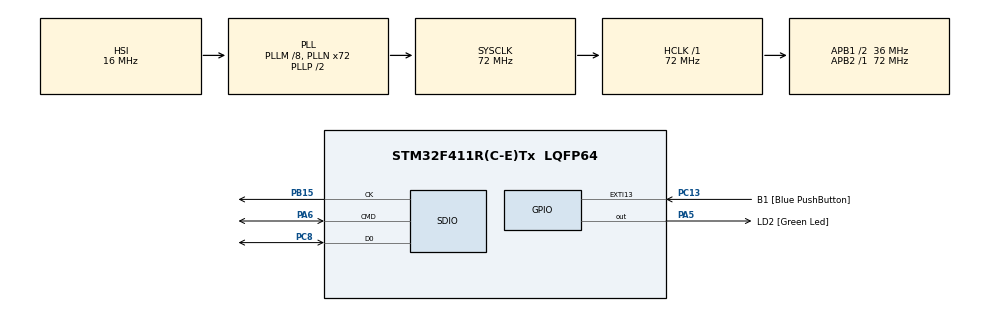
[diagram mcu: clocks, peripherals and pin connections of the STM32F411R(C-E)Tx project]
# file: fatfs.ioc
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Mcu.Family=STM32F4
Mcu.Name=STM32F411R(C-E)Tx
Mcu.Package=LQFP64
NVIC.PriorityGroup=NVIC_PRIORITYGROUP_0
NVIC.SDIO_IRQn=true\:0\:0\:false\:false\:true
PA13.GPIO_Label=TMS
PA13.Signal=SYS_JTMS-SWDIO
PA14.GPIO_Label=TCK
PA14.Signal=SYS_JTCK-SWCLK
PA2.GPIO_Label=USART_TX
PA2.Signal=USART2_TX
PA3.GPIO_Label=USART_RX
PA3.Signal=USART2_RX
PA5.GPIO_Label=LD2 [Green Led]
PA5.Signal=GPIO_Output
PA6.Mode=SD_1_bit
PA6.Signal=SDIO_CMD
PB15.Mode=SD_1_bit
PB15.Signal=SDIO_CK
PB3.GPIO_Label=SWO
PB3.Signal=SYS_JTDO-SWO
PC13-ANTI_TAMP.GPIO_Label=B1 [Blue PushButton]
PC13-ANTI_TAMP.GPIO_ModeDefaultEXTI=GPIO_MODE_IT_FALLING
PC13-ANTI_TAMP.Signal=GPXTI13
PC14-OSC32_IN.Signal=RCC_OSC32_IN
PC15-OSC32_OUT.Signal=RCC_OSC32_OUT
PC8.Mode=SD_1_bit
PC8.Signal=SDIO_D0
PH0\ -\ OSC_IN.Signal=RCC_OSC_IN
PH1\ -\ OSC_OUT.Signal=RCC_OSC_OUT
ProjectManager.HeapSize=0x2000
ProjectManager.StackSize=0x4000
ProjectManager.TargetToolchain=MDK-ARM V5
RCC.48MHZClocksFreq_Value=48000000
RCC.AHBFreq_Value=72000000
RCC.APB1CLKDivider=RCC_HCLK_DIV2
RCC.APB1Freq_Value=36000000
RCC.APB1TimFreq_Value=72000000
RCC.APB2Freq_Value=72000000
RCC.APB2TimFreq_Value=72000000
RCC.CortexFreq_Value=72000000
RCC.FLatency-AdvancedSettings=FLASH_LATENCY_2
RCC.HCLKFreq_Value=72000000
RCC.HSE_VALUE=8000000
RCC.HSI_VALUE=16000000
RCC.LSE_VALUE=32768
RCC.PLLM=8
RCC.PLLN=72
RCC.PLLQ=3
RCC.SYSCLKFreq_VALUE=72000000
RCC.SYSCLKSource=RCC_SYSCLKSOURCE_PLLCLK
RCC.VCOOutputFreq_Value=144000000
SDIO.ClockDiv=3
VP_FATFS_VS_SDIO.Mode=SDIO
board=NUCLEO-F411RE

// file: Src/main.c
/**

  ******************************************************************************

  * File Name          : main.c

  * Description        : Main program body

  ******************************************************************************

  * This notice applies to any and all portions of this file

  * that are not between comment pairs USER CODE BEGIN and

  * USER CODE END. Other portions of this file, whether

  * inserted by the user or by software development tools

  * are owned by their respective copyright owners.

  *

  * Copyright (c) 2018 STMicroelectronics International N.V.

  * All rights reserved.

  *

  * Redistribution and use in source and binary forms, with or without

  * modification, are permitted, provided that the following conditions are met:

  *

  * 1. Redistribution of source code must retain the above copyright notice,

  *    this list of conditions and the following disclaimer.

  * 2. Redistributions in binary form must reproduce the above copyright notice,

  *    this list of conditions and the following disclaimer in the documentation

  *    and/or other materials provided with the distribution.

  * 3. Neither the name of STMicroelectronics nor the names of other

  *    contributors to this software may be used to endorse or promote products

  *    derived from this software without specific written permission.

  * 4. This software, including modifications and/or derivative works of this

  *    software, must execute solely and exclusively on microcontroller or

  *    microprocessor devices manufactured by or for STMicroelectronics.

  * 5. Redistribution and use of this software other than as permitted under

  *    this license is void and will automatically terminate your rights under

  *    this license.

  *

  * THIS SOFTWARE IS PROVIDED BY STMICROELECTRONICS AND CONTRIBUTORS "AS IS"

  * AND ANY EXPRESS, IMPLIED OR STATUTORY WARRANTIES, INCLUDING, BUT NOT

  * LIMITED TO, THE IMPLIED WARRANTIES OF MERCHANTABILITY, FITNESS FOR A

  * PARTICULAR PURPOSE AND NON-INFRINGEMENT OF THIRD PARTY INTELLECTUAL PROPERTY

  * RIGHTS ARE DISCLAIMED TO THE FULLEST EXTENT PERMITTED BY LAW. IN NO EVENT

  * SHALL STMICROELECTRONICS OR CONTRIBUTORS BE LIABLE FOR ANY DIRECT, INDIRECT,

  * INCIDENTAL, SPECIAL, EXEMPLARY, OR CONSEQUENTIAL DAMAGES (INCLUDING, BUT NOT

  * LIMITED TO, PROCUREMENT OF SUBSTITUTE GOODS OR SERVICES; LOSS OF USE, DATA,

  * OR PROFITS; OR BUSINESS INTERRUPTION) HOWEVER CAUSED AND ON ANY THEORY OF

  * LIABILITY, WHETHER IN CONTRACT, STRICT LIABILITY, OR TORT (INCLUDING

  * NEGLIGENCE OR OTHERWISE) ARISING IN ANY WAY OUT OF THE USE OF THIS SOFTWARE,

  * EVEN IF ADVISED OF THE POSSIBILITY OF SUCH DAMAGE.

  *

  ******************************************************************************

  */

#include "main.h"

#include "stm32f4xx_hal.h"

#include "fatfs.h"

SD_HandleTypeDef hsd;

/* USER CODE BEGIN PV */

/* Private variables ---------------------------------------------------------*/

FATFS SDFatFs;  /* Sistema de Archivos de la SD */

FIL MyFile;     /* Manejador de Archivo (Estructura) */

char SDPath[4]; /* Path Lógico de la SD */

/* USER CODE END PV */

void SystemClock_Config(void);

static void MX_GPIO_Init(void);

static void MX_SDIO_SD_Init(void);

/* USER CODE BEGIN PFP */

/* Private function prototypes -----------------------------------------------*/

/* USER CODE END PFP */

int main(void)

{

  /* MCU Configuration----------------------------------------------------------*/

  /* Reset of all peripherals, Initializes the Flash interface and the Systick. */

  HAL_Init();

  /* Configure the system clock */

  SystemClock_Config();

  /* Initialize all configured peripherals */

  MX_GPIO_Init();

  MX_SDIO_SD_Init();

  MX_FATFS_Init();

  /* USER CODE BEGIN 2 */

  if(f_mount(&SDFatFs, SDPath, 1) == FR_OK) {

    HAL_GPIO_TogglePin(GPIOA, GPIO_PIN_5);

    HAL_Delay(200);

    HAL_GPIO_TogglePin(GPIOA, GPIO_PIN_5);

    HAL_Delay(200);

                        char myPath[] = "Text1.txt";

    if(f_open(&MyFile, (const TCHAR *)myPath, FA_WRITE | FA_CREATE_ALWAYS) == FR_OK) {

      char data[] = "My data to write";

      UINT testbytes;

      if(f_write(&MyFile, data, sizeof(data), &testbytes) == FR_OK) {

      }

      f_close(&MyFile);

      HAL_GPIO_TogglePin(GPIOA, GPIO_PIN_5);

      HAL_Delay(200);

      HAL_GPIO_TogglePin(GPIOA, GPIO_PIN_5);

      HAL_Delay(200);

                                    char dataread[sizeof(data)];

      if(f_open(&MyFile, (const TCHAR *)myPath, FA_READ | FA_OPEN_ALWAYS) == FR_OK) {

          if(f_read(&MyFile, dataread, sizeof(dataread), &testbytes) == FR_OK) {

            HAL_GPIO_TogglePin(GPIOA, GPIO_PIN_5);

            HAL_Delay(200);

            HAL_GPIO_TogglePin(GPIOA, GPIO_PIN_5);

            HAL_Delay(200);

        }

      }

      f_close(&MyFile);

    }

  }

  /* USER CODE END 2 */

  /* Infinite loop */

  while (1)
  {

  }

}

/** System Clock Configuration

*/

void SystemClock_Config(void)

{

  RCC_OscInitTypeDef RCC_OscInitStruct;

  RCC_ClkInitTypeDef RCC_ClkInitStruct;

    /**Configure the main internal regulator output voltage

    */

  __HAL_RCC_PWR_CLK_ENABLE();

  __HAL_PWR_VOLTAGESCALING_CONFIG(PWR_REGULATOR_VOLTAGE_SCALE1);

    /**Initializes the CPU, AHB and APB busses clocks

    */

  RCC_OscInitStruct.OscillatorType = RCC_OSCILLATORTYPE_HSI;

  RCC_OscInitStruct.HSIState = RCC_HSI_ON;

  RCC_OscInitStruct.HSICalibrationValue = 16;

  RCC_OscInitStruct.PLL.PLLState = RCC_PLL_ON;

  RCC_OscInitStruct.PLL.PLLSource = RCC_PLLSOURCE_HSI;

  RCC_OscInitStruct.PLL.PLLM = 8;

  RCC_OscInitStruct.PLL.PLLN = 72;

  RCC_OscInitStruct.PLL.PLLP = RCC_PLLP_DIV2;

  RCC_OscInitStruct.PLL.PLLQ = 3;

  if (HAL_RCC_OscConfig(&RCC_OscInitStruct) != HAL_OK)

  {

    _Error_Handler(__FILE__, __LINE__);

  }

    /**Initializes the CPU, AHB and APB busses clocks

    */

  RCC_ClkInitStruct.ClockType = RCC_CLOCKTYPE_HCLK|RCC_CLOCKTYPE_SYSCLK

                              |RCC_CLOCKTYPE_PCLK1|RCC_CLOCKTYPE_PCLK2;

  RCC_ClkInitStruct.SYSCLKSource = RCC_SYSCLKSOURCE_PLLCLK;

  RCC_ClkInitStruct.AHBCLKDivider = RCC_SYSCLK_DIV1;

  RCC_ClkInitStruct.APB1CLKDivider = RCC_HCLK_DIV2;

  RCC_ClkInitStruct.APB2CLKDivider = RCC_HCLK_DIV1;

  if (HAL_RCC_ClockConfig(&RCC_ClkInitStruct, FLASH_LATENCY_2) != HAL_OK)

  {

    _Error_Handler(__FILE__, __LINE__);

  }

    /**Configure the Systick interrupt time

    */

  HAL_SYSTICK_Config(HAL_RCC_GetHCLKFreq()/1000);

    /**Configure the Systick

    */

  HAL_SYSTICK_CLKSourceConfig(SYSTICK_CLKSOURCE_HCLK);

  /* SysTick_IRQn interrupt configuration */

  HAL_NVIC_SetPriority(SysTick_IRQn, 0, 0);

}

/* SDIO init function */

static void MX_SDIO_SD_Init(void)

{

  hsd.Instance = SDIO;

  hsd.Init.ClockEdge = SDIO_CLOCK_EDGE_RISING;

  hsd.Init.ClockBypass = SDIO_CLOCK_BYPASS_DISABLE;

  hsd.Init.ClockPowerSave = SDIO_CLOCK_POWER_SAVE_DISABLE;

  hsd.Init.BusWide = SDIO_BUS_WIDE_1B;

  hsd.Init.HardwareFlowControl = SDIO_HARDWARE_FLOW_CONTROL_DISABLE;

  hsd.Init.ClockDiv = 3;

}

/** Configure pins as

        * Analog

        * Input

        * Output

        * EVENT_OUT

        * EXTI

     PA2   ------> USART2_TX

     PA3   ------> USART2_RX

*/

static void MX_GPIO_Init(void)

{

  GPIO_InitTypeDef GPIO_InitStruct;

  /* GPIO Ports Clock Enable */

  __HAL_RCC_GPIOC_CLK_ENABLE();

  __HAL_RCC_GPIOH_CLK_ENABLE();

  __HAL_RCC_GPIOA_CLK_ENABLE();

  __HAL_RCC_GPIOB_CLK_ENABLE();

  /*Configure GPIO pin Output Level */

  HAL_GPIO_WritePin(GPIOA, GPIO_PIN_5, GPIO_PIN_RESET);

  /*Configure GPIO pin : B1_Pin */

  GPIO_InitStruct.Pin = GPIO_PIN_13;

  GPIO_InitStruct.Mode = GPIO_MODE_IT_FALLING;

  GPIO_InitStruct.Pull = GPIO_NOPULL;

  HAL_GPIO_Init(GPIOC, &GPIO_InitStruct);

  /*Configure GPIO pins : USART_TX_Pin USART_RX_Pin */

// GPIO_InitStruct.Pin = USART_TX_Pin|USART_RX_Pin;

  GPIO_InitStruct.Mode = GPIO_MODE_AF_PP;

  GPIO_InitStruct.Pull = GPIO_NOPULL;

  GPIO_InitStruct.Speed = GPIO_SPEED_FREQ_VERY_HIGH;

  GPIO_InitStruct.Alternate = GPIO_AF7_USART2;

  HAL_GPIO_Init(GPIOA, &GPIO_InitStruct);

  /*Configure GPIO pin : LD2_Pin */

  GPIO_InitStruct.Pin = GPIO_PIN_5;

  GPIO_InitStruct.Mode = GPIO_MODE_OUTPUT_PP;

  GPIO_InitStruct.Pull = GPIO_NOPULL;

  GPIO_InitStruct.Speed = GPIO_SPEED_FREQ_LOW;

  HAL_GPIO_Init(GPIOA, &GPIO_InitStruct);

}

void _Error_Handler(char * file, int line)

{

  while(1)
  {
  }

}

/************************ (C) COPYRIGHT STMicroelectronics *****END OF FILE****/
